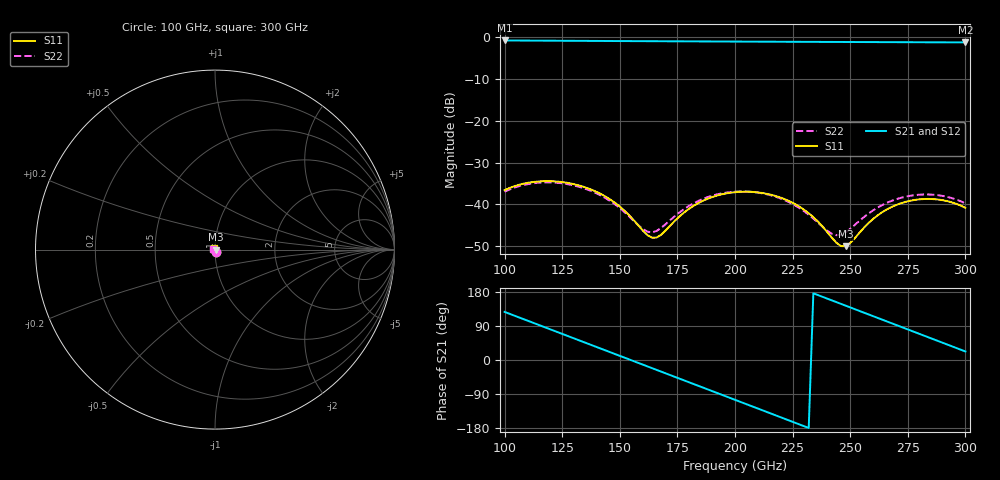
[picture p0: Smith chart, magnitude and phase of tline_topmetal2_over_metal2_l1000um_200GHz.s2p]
#  GHZ S DB R 50
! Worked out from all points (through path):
!   101 points, 100 GHz to 300 GHz, reference 50 ohm
!   highest |S21| = -0.71 dB at 100 GHz (marker M1); lowest = -1.2 dB at 300 GHz (marker M2)
!   group delay of S21, straight-line fit = 6.45 ps
!   lowest |S11| = -50.1 dB at 248 GHz (marker M3), VSWR 1.01, Z = 50.3 - j0.0566 ohm
!   |S11| at or under -10 dB: start of sweep to end of sweep
!   |S22| runs from -47.4 to -34.8 dB; largest |S21 - S12| = 1.1e-14
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100  -36.63 -69.6  -0.71 126.9  -0.71 126.9  -37.01 -70.6
108  -35.11 -93.8  -0.73 108.3  -0.73 108.3  -35.43 -94.9
116  -34.50 -117.4  -0.76 89.8  -0.76 89.8  -34.80 -118.7
124  -34.63 -141.0  -0.78 71.2  -0.78 71.2  -34.93 -142.6
134  -35.78 -171.4  -0.81 48.0  -0.81 48.0  -36.11 -173.6
144  -38.23 155.8  -0.84 24.9  -0.84 24.9  -38.61 152.1
152  -41.54 124.2  -0.86 6.3  -0.86 6.3  -41.89 117.9
162  -47.43 56.9  -0.89 -16.9  -0.89 -16.9  -46.60 45.9
168  -47.31 -7.0  -0.90 -30.8  -0.90 -30.8  -45.68 -10.4
184  -39.76 -95.0  -0.94 -67.9  -0.94 -67.9  -39.24 -92.9
192  -37.97 -122.3  -0.96 -86.5  -0.96 -86.5  -37.68 -120.6
200  -37.13 -147.4  -0.98 -105.1  -0.98 -105.1  -37.00 -146.3
208  -37.08 -171.9  -0.99 -123.6  -0.99 -123.6  -37.08 -171.4
218  -38.10 157.3  -1.02 -146.9  -1.02 -146.9  -38.28 156.3
226  -39.95 131.1  -1.03 -165.4  -1.03 -165.4  -40.27 127.9
234  -43.11 100.5  -1.05 176.0  -1.05 176.0  -43.45 92.3
242  -48.02 53.3  -1.07 157.4  -1.07 157.4  -47.09 35.8
248  -50.08 -10.3  -1.08 143.4  -1.08 143.4  -46.76 -20.0
258  -44.51 -88.1  -1.10 120.2  -1.10 120.2  -42.23 -81.6
268  -40.67 -127.7  -1.12 96.9  -1.12 96.9  -39.19 -119.6
282  -38.76 -172.1  -1.15 64.4  -1.15 64.4  -37.67 -162.8
300  -40.88 131.5  -1.18 22.5  -1.18 22.5  -39.83 146.3
